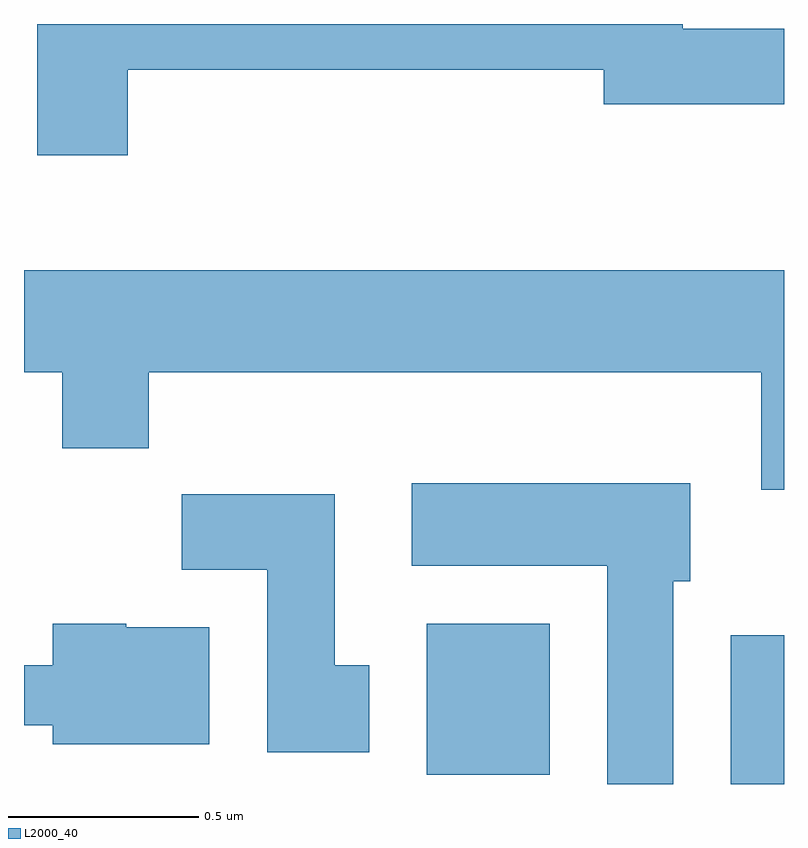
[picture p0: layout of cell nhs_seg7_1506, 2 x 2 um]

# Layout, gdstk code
import gdstk
lib = gdstk.Library(unit=1e-6, precision=1e-09)
def R(c, l, rs):  # rectangles x0, y0, x1, y1
    for r in rs: c.add(gdstk.rectangle(r[:2], r[2:], *l))
def P(c, l, *ps):  # polygons
    for p in ps: c.add(gdstk.Polygon(p, *l))
L2000_40 = (2000, 40)

nhs_seg7_1506 = lib.new_cell('nhs_seg7_1506')
R(nhs_seg7_1506, L2000_40, [(197.471,1804.252,197.611,1804.644), (196.671,1804.276,196.994,1804.674)])
P(nhs_seg7_1506, L2000_40, [(195.884,1806.131),(197.136,1806.131),(197.136,1806.041),(197.611,1806.041),(197.611,1806.239),(197.344,1806.239),(197.344,1806.252),(195.646,1806.252),(195.646,1805.906),(195.884,1805.906)],
  [(197.611,1805.604),(195.611,1805.604),(195.611,1805.336),(195.711,1805.336),(195.711,1805.136),(195.939,1805.136),(195.939,1805.336),(197.551,1805.336),(197.551,1805.026),(197.611,1805.026)],
  [(197.319,1804.786),(197.364,1804.786),(197.364,1805.044),(196.631,1805.044),(196.631,1804.826),(197.146,1804.826),(197.146,1804.252),(197.319,1804.252)],
  [(196.519,1804.564),(196.429,1804.564),(196.429,1805.014),(196.026,1805.014),(196.026,1804.816),(196.251,1804.816),(196.251,1804.336),(196.519,1804.336)],
  [(196.099,1804.664),(195.88,1804.664),(195.88,1804.674),(195.686,1804.674),(195.686,1804.564),(195.611,1804.564),(195.611,1804.406),(195.686,1804.406),(195.686,1804.356),(196.099,1804.356)])

lib.write_gds('nhs_seg7_1506.gds')
